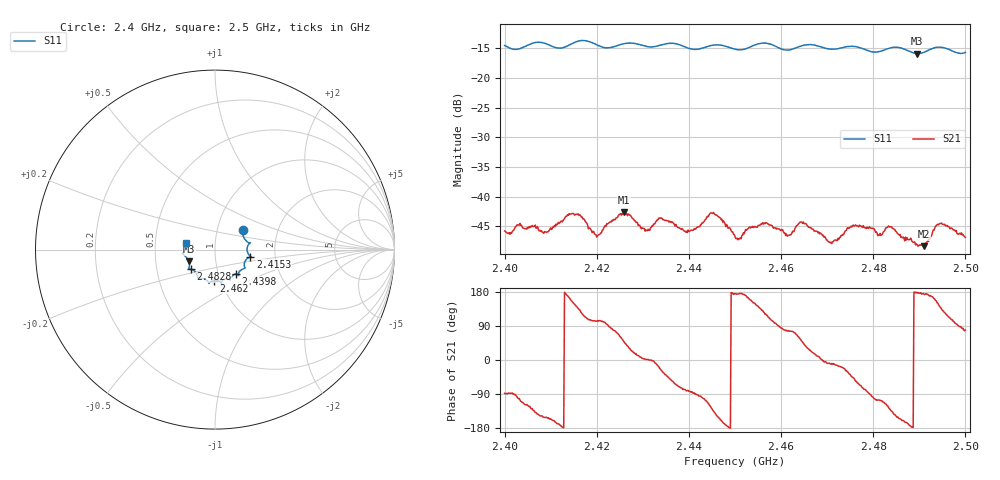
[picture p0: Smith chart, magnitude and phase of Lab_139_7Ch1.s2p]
# Hz S RI R 50
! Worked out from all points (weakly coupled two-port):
!   601 points, 2.4 GHz to 2.5 GHz, reference 50 ohm
!   highest |S21| = -42.61 dB at 2.4258 GHz (marker M1); lowest = -48.4 dB at 2.491 GHz (marker M2)
!   lowest |S11| = -15.9 dB at 2.4895 GHz (marker M3), VSWR 1.38, Z = 37 - j5 ohm
!   |S11| at or under -10 dB: start of sweep to end of sweep
!   S12 and S22 are empty: the file has one direction only
!   S11 on the Smith chart (normalised r, x): 2.4 GHz: 1.33, +0.29; 2.4153 GHz: 1.48, -0.12; 2.4398 GHz: 1.21, -0.34; 2.462 GHz: 0.93, -0.33; 2.4828 GHz: 0.74, -0.17; 2.5 GHz: 0.72, +0.06
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2.4e9  0.1546 0.1067  0.000175 -0.00513  0 0  0 0
2.409e9  0.1915 0.0342  -0.00438 -0.00242  0 0  0 0
2.415333e9  0.1967 -0.0387  -0.00571 0.0041  0 0  0 0
2.416667e9  0.2025 -0.0429  -0.00384 0.00553  0 0  0 0
2.420167e9  0.1833 -0.0469  -0.00112 0.00457  0 0  0 0
2.425833e9  0.1663 -0.1007  0.00483 0.00561  0 0  0 0
2.431e9  0.1433 -0.1151  0.00515 9.15e-05  0 0  0 0
2.433333e9  0.1311 -0.1335  0.00615 -0.0018  0 0  0 0
2.439833e9  0.1153 -0.1362  0.000884 -0.00515  0 0  0 0
2.445e9  0.0842 -0.1685  -0.00454 -0.00567  0 0  0 0
2.45e9  0.0649 -0.1624  -0.00458 0.000366  0 0  0 0
2.4565e9  0.039 -0.1931  -0.00304 0.00507  0 0  0 0
2.462e9  -0.00523 -0.1731  0.00116 0.0046  0 0  0 0
2.466667e9  -0.0342 -0.1879  0.00498 0.00192  0 0  0 0
2.470833e9  -0.0564 -0.1655  0.00405 -0.000776  0 0  0 0
2.475667e9  -0.0937 -0.1593  0.00394 -0.00421  0 0  0 0
2.482833e9  -0.1365 -0.1094  -0.00248 -0.00489  0 0  0 0
2.483333e9  -0.1403 -0.1091  -0.0033 -0.0046  0 0  0 0
2.4895e9  -0.1462 -0.0659  -0.00395 0.000211  0 0  0 0
2.491e9  -0.1584 -0.0453  -0.0038 0.000415  0 0  0 0
2.494333e9  -0.1808 -0.0216  -0.0047 0.00356  0 0  0 0
2.5e9  -0.1595 0.0392  0.000867 0.00445  0 0  0 0
